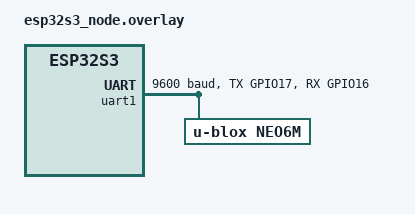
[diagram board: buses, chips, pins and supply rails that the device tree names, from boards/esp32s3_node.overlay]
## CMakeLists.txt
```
cmake_minimum_required(VERSION 3.20.0)
set(BOARD esp32s3_devkitm)
set(DTC_OVERLAY_FILE ${CMAKE_CURRENT_SOURCE_DIR}/boards/esp32s3_node.overlay)

find_package(Zephyr REQUIRED HINTS $ENV{ZEPHYR_BASE})
project(gps_node)

target_sources(app PRIVATE src/main.c)
target_include_directories(app PRIVATE
    ${CMAKE_CURRENT_SOURCE_DIR}/../common/can_protocol
    ${CMAKE_CURRENT_SOURCE_DIR}/../common/sensor_utils
)
```

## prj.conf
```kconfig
CONFIG_SERIAL=y
CONFIG_UART_INTERRUPT_DRIVEN=y
CONFIG_CAN=y
CONFIG_GPIO=y
CONFIG_SENSOR=y
CONFIG_WATCHDOG=y
```

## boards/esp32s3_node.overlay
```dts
/ {
    aliases {
        gps-uart = &uart1;
    };
};

&uart1 {
    status = "okay";
    current-speed = <9600>;
    pinctrl-0 = <&uart1_default>;
    pinctrl-names = "default";
    
    neo6m: neo6m {
        compatible = "u-blox,neo6m";
        status = "okay";
    };
};

&pinctrl {
    uart1_default: uart1_default {
        group1 {
            pinmux = <UART1_TX_GPIO17>,
                     <UART1_RX_GPIO16>;
        };
    };
};
```

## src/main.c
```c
#include <zephyr/kernel.h>
#include <zephyr/drivers/uart.h>
#include <zephyr/drivers/can.h>
#include "sensor_common.h"
#include "can_ids.h"

#define GPS_UART_NODE DT_ALIAS(uart_gps)
#define GPS_BUFFER_SIZE 256

static const struct device *uart_dev;
static const struct device *can_dev;
static uint8_t rx_buf[GPS_BUFFER_SIZE];

static void uart_cb(const struct device *dev, void *user_data)
{
    uint8_t c;
    static uint8_t pos = 0;

    if (uart_poll_in(dev, &c) == 0) {
        if (c == '\n') {
            if (pos > 6 && strncmp((char *)rx_buf, "$GPRMC", 6) == 0) {
                // Parse NMEA data and send over CAN
                float lat, lon;
                parse_gps_data(rx_buf, pos, &lat, &lon);
                
                uint8_t can_data[GPS_MSG_LEN];
                memcpy(can_data, &lat, sizeof(float));
                memcpy(can_data + sizeof(float), &lon, sizeof(float));
                send_sensor_data(can_dev, CAN_ID_GPS, can_data, GPS_MSG_LEN);
            }
            pos = 0;
        } else if (pos < GPS_BUFFER_SIZE - 1) {
            rx_buf[pos++] = c;
        }
    }
}

void main(void) {
    uart_dev = DEVICE_DT_GET(GPS_UART_NODE);
    can_dev = DEVICE_DT_GET(DT_CHOSEN(zephyr_canbus));

    if (!device_is_ready(uart_dev) || !device_is_ready(can_dev)) {
        return;
    }

    uart_irq_callback_set(uart_dev, uart_cb);
    uart_irq_rx_enable(uart_dev);
}
```
